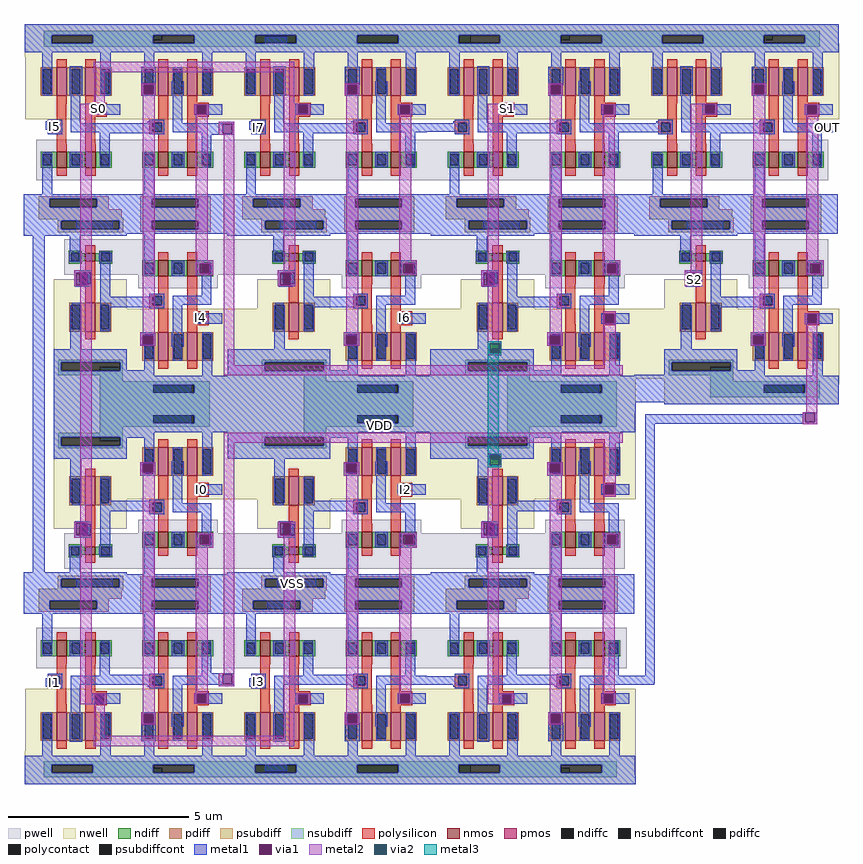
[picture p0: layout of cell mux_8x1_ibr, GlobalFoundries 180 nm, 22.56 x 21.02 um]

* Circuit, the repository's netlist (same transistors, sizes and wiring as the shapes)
* NGSPICE file created from mux_8x1_ibr.ext - technology: gf180mcuC

.subckt pmos_3p3_M8SWPS a_n28_n124# a_n116_n80# a_28_n80# w_n202_n210#
X0 a_28_n80# a_n28_n124# a_n116_n80# w_n202_n210# pfet_03v3 ad=0.352p pd=2.48u as=0.352p ps=2.48u w=0.8u l=0.28u
.ends

.subckt nmos_3p3_5QNVWA a_n116_n44# a_28_n44# a_n28_n88# VSUBS
X0 a_28_n44# a_n28_n88# a_n116_n44# VSUBS nfet_03v3 ad=0.194p pd=1.76u as=0.194p ps=1.76u w=0.44u l=0.28u
.ends

.subckt nand2_ibr VDD IN2 IN1 OUT VSS
Xpmos_3p3_M8SWPS_0 IN1 OUT VDD VDD pmos_3p3_M8SWPS
Xpmos_3p3_M8SWPS_1 IN2 VDD OUT VDD pmos_3p3_M8SWPS
Xnmos_3p3_5QNVWA_0 VSS m1_186_70# IN2 VSS nmos_3p3_5QNVWA
Xnmos_3p3_5QNVWA_1 m1_186_70# OUT IN1 VSS nmos_3p3_5QNVWA
.ends

.subckt pmos_3p3_MQGBLR a_n28_n124# a_n116_n80# a_28_n80# w_n202_n210#
X0 a_28_n80# a_n28_n124# a_n116_n80# w_n202_n210# pfet_03v3 ad=0.352p pd=2.48u as=0.352p ps=2.48u w=0.8u l=0.28u
.ends

.subckt nmos_3p3_DDNVWA a_n120_n36# a_28_n22# a_n28_n66# VSUBS
X0 a_28_n22# a_n28_n66# a_n120_n36# VSUBS nfet_03v3 ad=0.152p pd=1.64u as=0.152p ps=1.64u w=0.22u l=0.28u
.ends

.subckt nverterlayout_ibr VDD VSS OUT IN
Xpmos_3p3_MQGBLR_0 IN VDD OUT VDD pmos_3p3_MQGBLR
Xnmos_3p3_DDNVWA_0 VSS OUT IN VSS nmos_3p3_DDNVWA
.ends

.subckt mux_2x1_ibr VDD VSS Sel I0 I1 OUT
Xnand2_ibr_0 VDD I1 Sel nand2_ibr_1/IN2 VSS nand2_ibr
Xnand2_ibr_1 VDD nand2_ibr_1/IN2 nand2_ibr_2/OUT OUT VSS nand2_ibr
Xnand2_ibr_2 VDD nand2_ibr_2/IN2 I0 nand2_ibr_2/OUT VSS nand2_ibr
Xnverterlayout_ibr_0 VDD VSS nand2_ibr_2/IN2 Sel nverterlayout_ibr
.ends

.subckt mux_4x1_ibr I0 I1 I2 I3 S1 S0 OUT VDD VSS
Xmux_2x1_ibr_0 VDD VSS S0 I0 I1 mux_2x1_ibr_2/I0 mux_2x1_ibr
Xmux_2x1_ibr_1 VDD VSS S0 I2 I3 mux_2x1_ibr_2/I1 mux_2x1_ibr
Xmux_2x1_ibr_2 VDD VSS S1 mux_2x1_ibr_2/I0 mux_2x1_ibr_2/I1 OUT mux_2x1_ibr
.ends

.subckt mux_8x1_ibr I0 I1 I2 I3 I4 I5 I6 I7 VSS VDD OUT S0 S1 S2
Xmux_4x1_ibr_0 I4 I5 I6 I7 S1 S0 mux_2x1_ibr_0/I1 VDD VSS mux_4x1_ibr
Xmux_4x1_ibr_1 I0 I1 I2 I3 S1 S0 mux_2x1_ibr_0/I0 VDD VSS mux_4x1_ibr
Xmux_2x1_ibr_0 VDD VSS S2 mux_2x1_ibr_0/I0 mux_2x1_ibr_0/I1 OUT mux_2x1_ibr
.ends

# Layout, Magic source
magic
tech gf180mcuC
magscale 1 10
<< nwell >>
rect 3280 2061 3492 2065
rect 3279 1975 3490 1981
rect 1091 54 1773 343
rect 2197 54 2879 281
rect 3381 141 3776 528
rect 422 -52 1028 40
rect 1091 -38 2154 54
rect 2197 -38 3280 54
rect 1091 -180 1773 -38
rect 2197 -242 2879 -38
<< pwell >>
rect 286 1239 4420 1463
rect 319 716 4452 910
rect 319 -910 3325 -716
rect 286 -1463 3335 -1239
<< nsubdiff >>
rect 3280 2064 3492 2065
rect 3197 1981 3512 2064
rect 3279 1975 3490 1981
rect 422 -52 1028 40
rect 1548 -38 2154 54
rect 2674 -38 3280 54
rect 977 -1993 1281 -1975
rect 1021 -2017 1281 -1993
rect 2071 -1993 2407 -1975
rect 1021 -2065 1244 -2017
rect 2071 -2058 2388 -1993
rect 2071 -2065 2387 -2058
<< metal1 >>
rect 399 1612 436 1649
rect 2650 1607 2726 1656
rect 139 1506 199 1561
rect 1267 1504 1327 1559
rect 3300 1504 3534 1553
rect 4425 1513 4462 1550
rect 49 -978 116 991
rect 3689 675 3726 712
rect 957 451 1004 498
rect 2096 448 2156 503
rect 4322 498 4399 503
rect 4322 446 4334 498
rect 4386 446 4399 498
rect 4322 442 4399 446
rect 3377 161 3564 162
rect 3377 11 3732 161
rect 1129 -5 1304 11
rect 3545 10 3732 11
rect 2259 -4 2423 6
rect 4309 -49 4391 -46
rect 4309 -58 4323 -49
rect 1931 -138 2007 -89
rect 3439 -102 4323 -58
rect 4375 -102 4391 -49
rect 3439 -108 4391 -102
rect 3439 -340 3492 -108
rect 4309 -113 4391 -108
rect 2091 -444 2151 -442
rect 966 -502 1026 -447
rect 2091 -497 2159 -444
rect 3439 -495 3491 -340
rect 2099 -499 2159 -497
rect 1402 -1037 1571 -956
rect 3438 -1368 3491 -495
rect 146 -1558 206 -1503
rect 3438 -1504 3490 -1368
rect 1267 -1563 1327 -1508
rect 3301 -1545 3490 -1504
rect 3301 -1554 3489 -1545
<< via1 >>
rect 4334 446 4386 498
rect 4323 -102 4375 -49
<< metal2 >>
rect 313 -737 377 739
rect 2567 347 2627 743
rect 4322 498 4399 503
rect 4322 446 4334 498
rect 4386 446 4399 498
rect 4322 442 4399 446
rect 2567 337 2643 347
rect 2567 281 2577 337
rect 2633 281 2643 337
rect 2567 271 2643 281
rect 4328 -46 4391 442
rect 4309 -49 4391 -46
rect 4309 -102 4323 -49
rect 4375 -102 4391 -49
rect 4309 -113 4391 -102
rect 2567 -283 2643 -274
rect 2567 -339 2577 -283
rect 2633 -339 2643 -283
rect 2567 -350 2643 -339
rect 2567 -746 2627 -350
<< via2 >>
rect 2577 281 2633 337
rect 2577 -339 2633 -283
<< metal3 >>
rect 2567 337 2643 347
rect 2567 281 2577 337
rect 2633 281 2643 337
rect 2567 271 2643 281
rect 2567 -274 2627 271
rect 2567 -283 2643 -274
rect 2567 -339 2577 -283
rect 2633 -339 2643 -283
rect 2567 -350 2643 -339
use mux_2x1_ibr  mux_2x1_ibr_0
transform 1 0 3377 0 1 1051
box 0 -1051 1135 1051
use mux_4x1_ibr  mux_4x1_ibr_0
transform 1 0 1194 0 1 -5
box -1194 5 2193 2107
use mux_4x1_ibr  mux_4x1_ibr_1
transform 1 0 1194 0 -1 5
box -1194 5 2193 2107
<< labels >>
flabel metal1 984 -474 984 -474 0 FreeSans 640 0 0 0 I0
port 0 nsew
flabel metal1 169 -1539 169 -1539 0 FreeSans 640 0 0 0 I1
port 1 nsew
flabel metal1 2110 -474 2110 -474 0 FreeSans 640 0 0 0 I2
port 2 nsew
flabel metal1 1299 -1535 1299 -1535 0 FreeSans 640 0 0 0 I3
port 3 nsew
flabel metal1 979 476 979 476 0 FreeSans 640 0 0 0 I4
port 4 nsew
flabel metal1 169 1537 169 1537 0 FreeSans 640 0 0 0 I5
port 5 nsew
flabel metal1 2106 476 2106 476 0 FreeSans 640 0 0 0 I6
port 6 nsew
flabel metal1 1299 1532 1299 1532 0 FreeSans 640 0 0 0 I7
port 7 nsew
flabel metal1 1489 -993 1489 -993 0 FreeSans 640 0 0 0 VSS
port 8 nsew
flabel metal1 1966 -117 1966 -117 0 FreeSans 640 0 0 0 VDD
port 9 nsew
flabel metal1 4445 1528 4445 1528 0 FreeSans 640 0 0 0 OUT
port 10 nsew
flabel metal1 414 1634 414 1634 0 FreeSans 640 0 0 0 S0
port 11 nsew
flabel metal1 2675 1634 2675 1634 0 FreeSans 640 0 0 0 S1
port 12 nsew
flabel metal1 3713 689 3713 689 0 FreeSans 640 0 0 0 S2
port 13 nsew
<< end >>

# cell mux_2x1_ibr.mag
magic
tech gf180mcuC
magscale 1 10
<< nwell >>
rect 361 -394 362 -391
rect 361 -401 375 -394
rect 645 -729 650 -653
rect 569 -886 618 -864
rect 547 -887 690 -886
rect 167 -924 690 -887
rect 167 -1051 619 -924
<< pwell >>
rect 509 188 640 412
rect 324 -278 377 -196
rect 509 -335 638 -188
<< psubdiff >>
rect 83 -28 542 26
rect 646 -25 1035 30
<< nsubdiff >>
rect 427 992 768 1014
rect 382 962 768 992
rect 382 924 722 962
rect 445 -845 547 -844
rect 422 -924 547 -845
rect 422 -930 718 -924
rect 422 -1013 1028 -930
<< metal1 >>
rect 502 897 667 1046
rect 256 729 323 817
rect 651 715 732 814
rect 651 662 663 715
rect 720 713 732 715
rect 720 662 731 713
rect 651 654 731 662
rect 377 606 458 609
rect 377 554 394 606
rect 446 603 458 606
rect 945 604 1023 608
rect 446 554 459 603
rect 377 550 459 554
rect 945 551 958 604
rect 1010 551 1023 604
rect 377 548 458 550
rect 945 548 1023 551
rect 136 450 207 515
rect 696 502 767 515
rect 421 448 772 502
rect 904 453 1105 502
rect 1003 448 1033 453
rect 83 24 542 26
rect 0 -28 542 24
rect 646 -25 1035 30
rect 0 -119 169 -28
rect 290 -104 492 -28
rect 951 -275 1049 -256
rect 279 -320 361 -312
rect 279 -324 362 -320
rect 279 -395 292 -324
rect 352 -331 362 -324
rect 951 -328 975 -275
rect 1029 -328 1049 -275
rect 352 -394 366 -331
rect 951 -338 1049 -328
rect 352 -395 375 -394
rect 279 -401 375 -395
rect 285 -402 366 -401
rect 430 -515 770 -458
rect 954 -554 1022 -548
rect 953 -604 1022 -554
rect 954 -607 1022 -604
rect 645 -670 729 -653
rect 645 -723 658 -670
rect 717 -723 729 -670
rect 645 -729 729 -723
rect 569 -887 689 -864
rect 167 -896 689 -887
rect 167 -899 881 -896
rect 167 -993 928 -899
rect 167 -1051 881 -993
<< via1 >>
rect 663 662 720 715
rect 394 554 446 606
rect 958 551 1010 604
rect 292 -395 352 -324
rect 975 -328 1029 -275
rect 658 -723 717 -670
<< metal2 >>
rect 651 715 731 724
rect 651 662 663 715
rect 720 662 731 715
rect 651 654 731 662
rect 314 606 458 609
rect 314 554 394 606
rect 446 554 458 606
rect 314 548 458 554
rect 314 -312 377 548
rect 279 -324 377 -312
rect 279 -395 292 -324
rect 352 -394 377 -324
rect 352 -395 375 -394
rect 279 -401 375 -395
rect 658 -653 724 654
rect 945 604 1023 608
rect 945 551 958 604
rect 1010 551 1023 604
rect 945 548 1023 551
rect 951 -256 1019 548
rect 951 -275 1049 -256
rect 951 -328 975 -275
rect 1029 -328 1049 -275
rect 951 -338 1049 -328
rect 645 -670 729 -653
rect 645 -723 658 -670
rect 717 -723 729 -670
rect 645 -729 729 -723
use nand2_ibr  nand2_ibr_0
transform 1 0 70 0 1 188
box -70 -188 502 863
use nand2_ibr  nand2_ibr_1
transform 1 0 633 0 1 188
box -70 -188 502 863
use nand2_ibr  nand2_ibr_2
transform 1 0 633 0 -1 -188
box -70 -188 502 863
use nverterlayout_ibr  nverterlayout_ibr_0
transform 1 0 255 0 -1 220
box -88 220 316 1149
<< labels >>
flabel metal1 572 976 572 976 0 FreeSans 480 0 0 0 VDD
port 0 nsew
flabel metal1 92 -40 92 -40 0 FreeSans 480 0 0 0 VSS
port 1 nsew
flabel via1 314 -358 314 -358 0 FreeSans 480 0 0 0 Sel
port 2 nsew
flabel metal1 982 -578 982 -578 0 FreeSans 480 0 0 0 I0
port 3 nsew
flabel metal1 136 450 207 515 0 FreeSans 480 0 0 0 I1
port 4 nsew
flabel metal1 1070 475 1070 475 0 FreeSans 480 0 0 0 OUT
port 5 nsew
<< end >>

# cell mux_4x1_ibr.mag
magic
tech gf180mcuC
magscale 1 10
<< nwell >>
rect -166 1954 44 2070
rect 141 1953 262 2037
rect -66 146 141 533
rect 1061 146 1257 533
<< pwell >>
rect -123 1244 13 1468
rect 1002 1244 1138 1468
rect -132 721 164 868
rect 1000 721 1289 868
<< nsubdiff >>
rect -166 1980 1279 2070
<< metal1 >>
rect 141 1953 262 2037
rect -783 1632 -762 1650
rect 1454 1611 1500 1655
rect -1048 1513 -994 1568
rect -155 1554 -29 1558
rect -155 1499 -94 1554
rect -41 1499 -29 1554
rect 79 1517 125 1561
rect 976 1510 1225 1558
rect 2111 1514 2157 1558
rect -155 1495 -29 1499
rect 154 1059 275 1143
rect 2011 505 2081 508
rect -229 454 -183 498
rect 893 454 939 498
rect 2011 452 2019 505
rect 2072 452 2081 505
rect 2011 447 2081 452
rect -64 6 110 308
rect 1055 6 1229 308
<< via1 >>
rect -94 1499 -41 1554
rect 2019 452 2072 505
<< metal2 >>
rect -806 1840 302 1899
rect -804 1611 -746 1840
rect 246 1630 302 1840
rect -116 1554 -29 1565
rect -116 1499 -94 1554
rect -41 1499 -29 1554
rect -116 1495 -29 1499
rect -88 220 -29 1495
rect 2013 508 2081 517
rect 2011 505 2081 508
rect 2011 452 2019 505
rect 2072 452 2081 505
rect 2011 447 2081 452
rect 2013 220 2081 447
rect -88 163 2119 220
use mux_2x1_ibr  mux_2x1_ibr_0
transform 1 0 -1194 0 1 1056
box 0 -1051 1135 1051
use mux_2x1_ibr  mux_2x1_ibr_1
transform 1 0 -68 0 1 1056
box 0 -1051 1135 1051
use mux_2x1_ibr  mux_2x1_ibr_2
transform 1 0 1058 0 1 1056
box 0 -1051 1135 1051
<< labels >>
flabel metal1 -211 476 -211 476 0 FreeSans 640 0 0 0 I0
port 0 nsew
flabel metal1 -1024 1539 -1024 1539 0 FreeSans 640 0 0 0 I1
port 1 nsew
flabel metal1 107 1536 107 1536 0 FreeSans 640 0 0 0 I3
port 3 nsew
flabel metal1 1479 1635 1479 1635 0 FreeSans 640 0 0 0 S1
port 4 nsew
flabel metal2 -772 1639 -772 1639 0 FreeSans 640 0 0 0 S0
port 5 nsew
flabel metal1 2133 1536 2133 1536 0 FreeSans 640 0 0 0 OUT
port 6 nsew
flabel metal1 198 1991 198 1991 0 FreeSans 640 0 0 0 VDD
port 7 nsew
flabel metal1 210 1106 210 1106 0 FreeSans 640 0 0 0 VSS
port 8 nsew
flabel metal1 914 479 914 479 0 FreeSans 640 0 0 0 I2
port 2 nsew
<< end >>

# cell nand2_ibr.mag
magic
tech gf180mcuC
magscale 1 10
<< nwell >>
rect -64 708 500 863
rect -64 682 32 708
rect 33 682 500 708
rect 191 384 243 624
<< psubdiff >>
rect 13 -105 402 -91
rect 13 -151 75 -105
rect 333 -151 402 -105
rect 13 -167 402 -151
<< nsubdiff >>
rect 41 802 395 826
rect 41 756 85 802
rect 312 756 395 802
rect 41 736 395 756
<< psubdiffcont >>
rect 75 -151 333 -105
<< nsubdiffcont >>
rect 85 756 312 802
<< polysilicon >>
rect 311 421 391 427
rect 112 334 166 421
rect 63 318 166 334
rect 63 268 81 318
rect 130 268 166 318
rect 63 254 166 268
rect 112 200 166 254
rect 272 414 391 421
rect 272 366 326 414
rect 374 366 391 414
rect 272 360 391 366
rect 272 350 390 360
rect 272 200 327 350
<< polycontact >>
rect 81 268 130 318
rect 326 366 374 414
<< metal1 >>
rect -64 817 500 863
rect -64 802 499 817
rect -64 756 85 802
rect 312 756 499 802
rect -64 708 499 756
rect 33 471 89 708
rect 191 545 243 624
rect 186 470 253 545
rect 354 473 411 708
rect 63 325 144 334
rect 53 318 144 325
rect 53 278 81 318
rect 63 268 81 278
rect 130 268 144 318
rect 63 254 144 268
rect 191 314 243 470
rect 311 414 465 418
rect 311 366 326 414
rect 374 366 465 414
rect 311 361 465 366
rect 311 360 391 361
rect 191 265 406 314
rect 34 -79 88 149
rect 186 70 255 156
rect 351 80 406 265
rect -70 -105 493 -79
rect -70 -151 75 -105
rect 333 -151 493 -105
rect -70 -188 493 -151
use nmos_3p3_5QNVWA  nmos_3p3_5QNVWA_0
transform 1 0 140 0 1 112
box -140 -112 140 112
use nmos_3p3_5QNVWA  nmos_3p3_5QNVWA_1
transform 1 0 300 0 1 112
box -140 -112 140 112
use pmos_3p3_M8SWPS  pmos_3p3_M8SWPS_0
transform 1 0 300 0 1 545
box -202 -210 202 210
use pmos_3p3_M8SWPS  pmos_3p3_M8SWPS_1
transform 1 0 140 0 1 545
box -202 -210 202 210
<< labels >>
flabel polycontact 101 293 101 293 0 FreeSans 480 0 0 0 IN2
port 1 nsew
flabel metal1 425 394 425 394 0 FreeSans 480 0 0 0 IN1
port 2 nsew
flabel metal1 374 282 374 282 0 FreeSans 480 0 0 0 OUT
port 3 nsew
flabel psubdiffcont 204 -128 204 -128 0 FreeSans 480 0 0 0 VSS
port 4 nsew
flabel nsubdiffcont 200 777 200 777 0 FreeSans 480 0 0 0 VDD
port 0 nsew
<< end >>

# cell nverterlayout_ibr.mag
magic
tech gf180mcuC
magscale 1 10
<< nwell >>
rect -88 1000 316 1149
rect -88 968 315 1000
rect 4 724 63 960
rect 64 612 121 621
<< pwell >>
rect 64 534 121 540
rect 54 532 121 534
<< psubdiff >>
rect -67 305 295 320
rect -67 258 -46 305
rect 275 258 295 305
rect -67 241 295 258
<< nsubdiff >>
rect -64 1086 292 1111
rect -64 1040 -48 1086
rect 279 1040 292 1086
rect -64 1027 292 1040
<< psubdiffcont >>
rect -46 258 275 305
<< nsubdiffcont >>
rect -48 1040 279 1086
<< polysilicon >>
rect 86 621 142 672
rect 54 606 142 621
rect 54 546 70 606
rect 118 546 142 606
rect 54 532 142 546
rect 86 524 142 532
<< polycontact >>
rect 70 546 118 606
<< metal1 >>
rect -88 1086 315 1130
rect -88 1040 -48 1086
rect 279 1040 315 1086
rect -88 968 315 1040
rect 4 724 63 968
rect 54 606 121 621
rect 54 596 70 606
rect 53 546 70 596
rect 118 546 121 606
rect 53 532 121 546
rect -1 339 58 485
rect 168 429 224 867
rect -88 305 316 339
rect -88 258 -46 305
rect 275 258 316 305
rect -88 220 316 258
use nmos_3p3_DDNVWA  nmos_3p3_DDNVWA_0
transform 1 0 114 0 1 458
box -144 -97 144 97
use pmos_3p3_MQGBLR  pmos_3p3_MQGBLR_0
transform 1 0 114 0 1 790
box -202 -210 202 210
<< labels >>
flabel nsubdiffcont 116 1065 116 1065 0 FreeSans 480 0 0 0 VDD
port 0 nsew
flabel psubdiffcont 113 283 113 283 0 FreeSans 480 0 0 0 VSS
port 1 nsew
flabel metal1 194 631 194 631 0 FreeSans 480 0 0 0 OUT
port 2 nsew
flabel polycontact 92 575 92 575 0 FreeSans 480 0 0 0 IN
port 3 nsew
<< end >>

# cell nmos_3p3_DDNVWA: kit device nmos_3p3, w 0.220 l 0.280 m 1 nf 1 diffcov 100 polycov 100 guard 0 glc 0 grc 0 gtc 0 gbc 0 tbcov 100 rlcov 100 topc 0 botc 0 poverlap 0 doverlap 1 lmin 0.28 wmin 0.22 full_metal 0 compatible {nmos_3p3 nmos_6p0 nmos_6p0_nat}

# cell pmos_3p3_MQGBLR: kit device pmos_3p3, w 0.8 l 0.280 m 1 nf 1 diffcov 100 polycov 100 guard 0 glc 0 grc 0 gtc 0 gbc 0 tbcov 100 rlcov 100 topc 0 botc 0 poverlap 0 doverlap 1 lmin 0.28 wmin 0.22 full_metal 0 compatible {pmos_3p3 pmos_6p0}

# cell nmos_3p3_5QNVWA: kit device nmos_3p3, w 0.440 l 0.280 m 1 nf 1 diffcov 100 polycov 100 guard 0 glc 0 grc 0 gtc 0 gbc 0 tbcov 100 rlcov 100 topc 0 botc 0 poverlap 0 doverlap 1 lmin 0.28 wmin 0.22 full_metal 0 compatible {nmos_3p3 nmos_6p0 nmos_6p0_nat}

# cell pmos_3p3_M8SWPS: kit device pmos_3p3, w 0.80 l 0.280 m 1 nf 1 diffcov 100 polycov 100 guard 0 glc 0 grc 0 gtc 0 gbc 0 tbcov 100 rlcov 100 topc 0 botc 0 poverlap 0 doverlap 1 lmin 0.28 wmin 0.22 full_metal 0 compatible {pmos_3p3 pmos_6p0}
